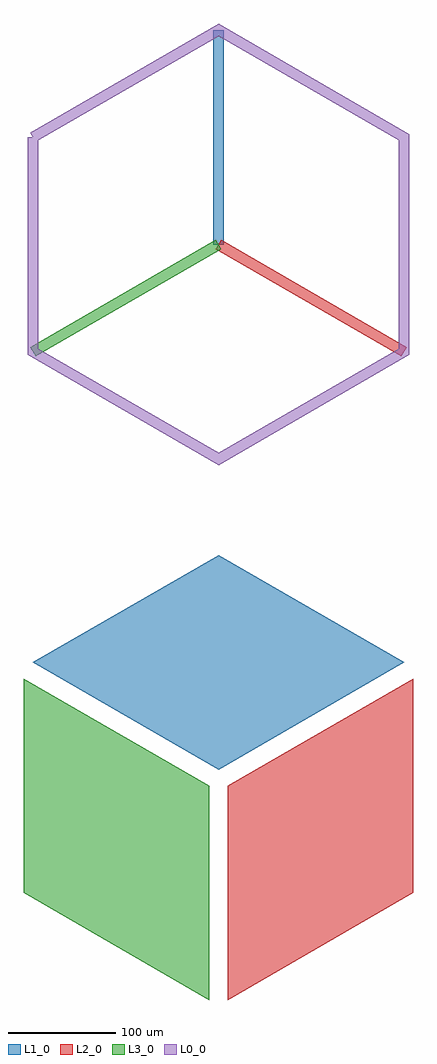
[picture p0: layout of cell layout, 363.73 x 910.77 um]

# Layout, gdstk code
import gdstk
lib = gdstk.Library(unit=1e-6, precision=5e-09)
def P(c, l, *ps):  # polygons
    for p in ps: c.add(gdstk.Polygon(p, *l))
L0_0 = (0, 0)
L1_0 = (1, 0)
L2_0 = (2, 0)
L3_0 = (3, 0)

filled = lib.new_cell('filled')
P(filled, L1_0, [(0,10),(173.205,110),(0,210),(-173.205,110)])
P(filled, L2_0, [(8.66,-5),(181.865,95),(181.865,-105),(8.66,-205)])
P(filled, L3_0, [(-8.66,-5),(-181.865,95),(-181.865,-105),(-8.66,-205)])

open = lib.new_cell('open')
open.add(gdstk.FlexPath([(-173.205,100),(-173.205,-100),(0,-200),(173.205,-100),(173.205,100),(0,200),(-173.205,100)], 10, ends="flush", simple_path=True, layer=0, datatype=0))  # L0_0
open.add(gdstk.FlexPath([(0,0),(0,200)], 10, ends="flush", simple_path=True, layer=1, datatype=0))  # L1_0
open.add(gdstk.FlexPath([(0,0),(173.205,-100)], 10, ends="flush", simple_path=True, layer=2, datatype=0))  # L2_0
open.add(gdstk.FlexPath([(0,0),(-173.205,-100)], 10, ends="flush", simple_path=True, layer=3, datatype=0))  # L3_0

layout = lib.new_cell('layout')
layout.add(gdstk.Reference(filled, (0,-250)))
layout.add(gdstk.Reference(open, (0,250)))

lib.write_gds('layout.gds')
